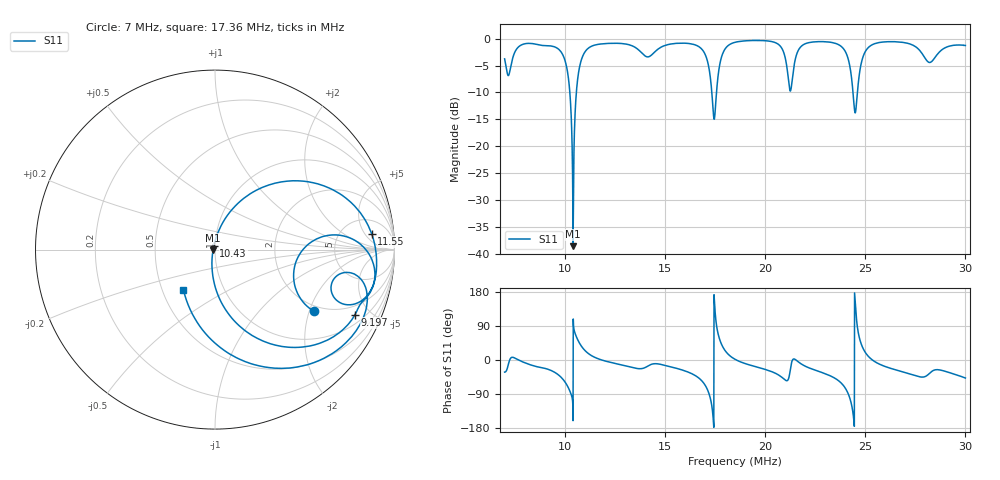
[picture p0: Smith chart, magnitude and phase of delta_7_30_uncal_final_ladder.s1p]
! Touchstone file generated by AntScope2
# MHz Z RI R 50
! Format: Frequency Z-real Z-imaginary (normalized to 50 Ohm)
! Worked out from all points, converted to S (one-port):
!   2001 points, 7 MHz to 30 MHz, reference 50 ohm
!   lowest |S11| = -38.6 dB at 10.42 MHz (marker M1), VSWR 1.02, Z = 48.9 - j0.39 ohm
!   |S11| at or under -10 dB: 10.26 MHz to 10.58 MHz (325.7 kHz wide, 3.13 % of centre); 17.34 MHz to 17.58 MHz (234.6 kHz wide, 1.34 % of centre); 24.39 MHz to 24.61 MHz (220.9 kHz wide, 0.902 % of centre)
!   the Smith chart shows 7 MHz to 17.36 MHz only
!   S11 on the Smith chart (normalised r, x): 7 MHz: 1.81, -2.15; 9.197 MHz: 1.44, -4.02; 10.43 MHz: 0.99, +0.04; 11.55 MHz: 10, +7; 17.36 MHz: 0.64, -0.31
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7  1.809 -2.149
7.437  4.983 1.548
9.1965  1.441 -4.016
9.875  0.8376 -1.917
10.174  0.8636 -0.9142
10.4155  0.9782 -0.0078
10.427  0.9864 0.0388
10.772  1.422 1.641
11.554  9.693 7.368
12.75  3.755 -7.745
14.061  3.096 -2.53
15.625  1.194 -4.707
16.959  0.5122 -1.526
17.3615  0.6414 -0.3128
17.741  1.036 1.439
18.5  21.8 9.323
20.8115  0.6204 -2.3
21.375  2.612 0.0222
21.8465  4.658 -6.373
22.939  0.3506 -3.148
23.8935  0.333 -1.485
24.25  0.4676 -0.6706
24.503  0.6864 0.1442
24.7675  1.25 1.448
25.4  16 -3.681
27.125  0.5284 -3.065
28.482  2.25 -2.392
30  0.435 -2.196
